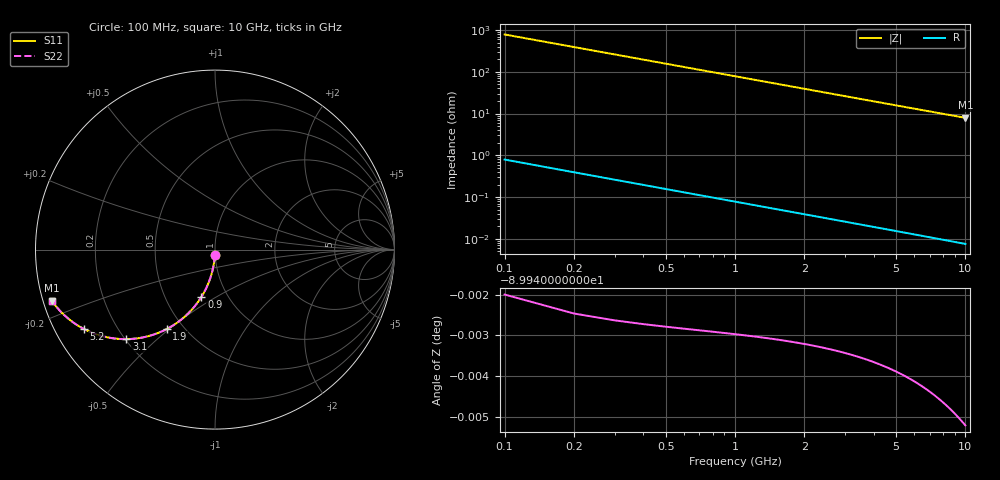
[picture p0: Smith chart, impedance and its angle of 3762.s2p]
# Hz S RI R 50.00
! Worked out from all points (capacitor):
!   100 points, 100 MHz to 10 GHz, reference 50 ohm
!   read as one part in shunt: C = 2.03 pF near 100 MHz
!   lowest |Z| = 7.92 ohm at 10 GHz (marker M1)
!   S11 on the Smith chart (normalised r, x): 100 MHz: 1.00, -0.06; 900 MHz: 0.75, -0.43; 1.9 GHz: 0.41, -0.49; 3.1 GHz: 0.20, -0.40; 5.2 GHz: 0.08, -0.28; 10 GHz: 0.02, -0.15
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1e8  -0.00103 -0.0318  0.9989 -0.0319  0.9989 -0.0319  -0.00103 -0.0318
2e8  -0.00409 -0.0634  0.9959 -0.0635  0.9959 -0.0635  -0.00409 -0.0634
3e8  -0.00914 -0.0947  0.9908 -0.0948  0.9908 -0.0948  -0.00914 -0.0947
4e8  -0.0161 -0.1253  0.9839 -0.1255  0.9839 -0.1255  -0.0161 -0.1253
5e8  -0.0249 -0.1553  0.9751 -0.1554  0.9751 -0.1554  -0.0249 -0.1553
6e8  -0.0354 -0.1843  0.9645 -0.1845  0.9645 -0.1845  -0.0354 -0.1843
7e8  -0.0476 -0.2123  0.9524 -0.2125  0.9524 -0.2125  -0.0476 -0.2123
9e8  -0.0762 -0.2647  0.9238 -0.265  0.9238 -0.265  -0.0762 -0.2647
1.1e9  -0.1096 -0.3117  0.8903 -0.3122  0.8903 -0.3122  -0.1096 -0.3117
1.3e9  -0.1467 -0.353  0.8533 -0.3535  0.8533 -0.3535  -0.1467 -0.353
1.5e9  -0.1861 -0.3884  0.8138 -0.389  0.8138 -0.389  -0.1861 -0.3884
1.8e9  -0.2476 -0.4308  0.7523 -0.4315  0.7523 -0.4315  -0.2476 -0.4308
1.9e9  -0.2683 -0.4422  0.7317 -0.4429  0.7317 -0.4429  -0.2683 -0.4422
2.5e9  -0.388 -0.4863  0.6119 -0.4873  0.6119 -0.4873  -0.388 -0.4863
3.1e9  -0.4934 -0.4989  0.5066 -0.5001  0.5066 -0.5001  -0.4934 -0.4989
3.4e9  -0.5394 -0.4973  0.4606 -0.4986  0.4606 -0.4986  -0.5394 -0.4973
4.2e9  -0.6409 -0.4784  0.3591 -0.48  0.3591 -0.48  -0.6409 -0.4784
5.1e9  -0.7244 -0.4453  0.2756 -0.4473  0.2756 -0.4473  -0.7244 -0.4453
5.2e9  -0.732 -0.4414  0.2679 -0.4434  0.2679 -0.4434  -0.732 -0.4414
6.7e9  -0.819 -0.3832  0.1809 -0.3858  0.1809 -0.3858  -0.819 -0.3832
8.4e9  -0.8765 -0.3268  0.1234 -0.3301  0.1234 -0.3301  -0.8765 -0.3268
1e10  -0.9094 -0.2845  0.0905 -0.2884  0.0905 -0.2884  -0.9094 -0.2845
